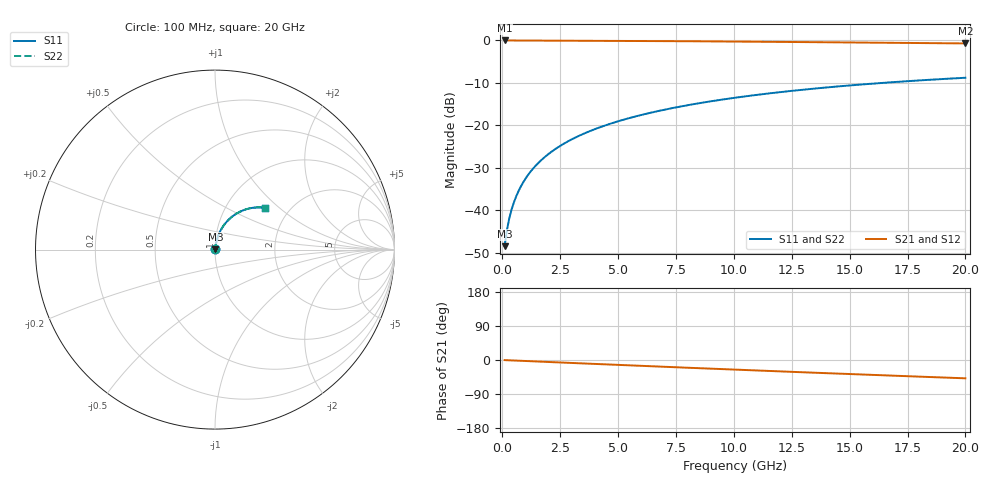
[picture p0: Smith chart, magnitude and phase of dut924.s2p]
! Touchstone file exported from HFSS 2026.1.0
!  File:  C:/ffzhzh/LocalFiles/Ansys_Project_Files/temp_train_TMRDL_924_1783158210_43440.aedt
!  Generated:  05:44:53 PM Jul  4, 2026
!  Design:  TMRDL
!  Project:  temp_train_TMRDL_924_1783158210_43440
! Variables:
!  h_bsmrdl = 2um
!  h_ox = 20um
!  h_rdl = 5um
!  h_sub = 80um
!  h_tmrdl = 4.28um
!  h_tsv = 80um
!  h_via = 3um
!  l_bsmrdl = 300um
!  l_sub = 1159.62um
!  l_tmrdl = 759.62um
!  m_sub = 200um
!  pitch = 47.27um
!  r_tsv = 6um
!  s_tmrdl = 10um
!  w_bsmrdl = 18um
!  w_sub = 500um
!  w_tmrdl = 25.11um
!  x_tsv_center1 = 772.175um
!  x_tsv_center2 = 1090.175um
!  x_tsv_center3 = 1874.905um
!  x_tsv_center4 = 2192.905um
!  x_tsv_center5 = 2977.635um
!  x_tsv_center6 = 3295.635um
# GHz S MA R 50.000000
! Terminal data exported
! Port[1] = TM_RDL1_1_T1
! Port[2] = TM_RDL1_1_T2
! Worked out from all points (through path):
!   200 points, 100 MHz to 20 GHz, reference 50 ohm
!   highest |S21| = -0.02 dB at 100 MHz (marker M1); lowest = -0.7 dB at 20 GHz (marker M2)
!   group delay of S21, straight-line fit = 6.71 ps
!   lowest |S11| = -48.5 dB at 100 MHz (marker M3), VSWR 1.01, Z = 50.3 + j0.26 ohm
!   |S11| at or under -10 dB: start of sweep to 16.47 GHz
!   |S22| runs from -48.5 to -8.8 dB; largest |S21 - S12| = 7.3e-15
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0.1  0.003766 43.3  0.9973 -0.3  0.9973 -0.3  0.003766 43.3
! Gamma 0 0 0 0
! Port Impedance 50 0 50 0
0.2  0.005827 59.1  0.997 -0.5  0.997 -0.5  0.005827 59.1
0.3  0.007978 66.1  0.9968 -0.8  0.9968 -0.8  0.007978 66.1
0.4  0.01014 70.2  0.9967 -1.1  0.9967 -1.1  0.01014 70.2
0.5  0.01232 72.9  0.9966 -1.3  0.9966 -1.3  0.01232 72.9
0.6  0.01452 74.8  0.9965 -1.6  0.9965 -1.6  0.01452 74.8
0.8  0.01897 77.2  0.9963 -2.1  0.9963 -2.1  0.01897 77.2
1.1  0.0257 78.9  0.996 -2.9  0.996 -2.9  0.0257 78.9
1.5  0.03472 79.7  0.9955 -3.9  0.9955 -3.9  0.03472 79.7
1.8  0.04148 79.7  0.9951 -4.7  0.9951 -4.7  0.04148 79.7
2.1  0.04822 79.5  0.9946 -5.5  0.9946 -5.5  0.04822 79.5
2.7  0.06161 78.6  0.9935 -7.0  0.9935 -7.0  0.06161 78.6
3.5  0.07921 77.1  0.9916 -9.1  0.9916 -9.1  0.07921 77.1
4.2  0.09436 75.6  0.9897 -10.9  0.9897 -10.9  0.09435 75.6
5  0.1114 73.8  0.9873 -12.9  0.9873 -12.9  0.1114 73.8
5.9  0.1301 71.7  0.9844 -15.2  0.9844 -15.2  0.1301 71.7
6.8  0.1484 69.6  0.9812 -17.4  0.9812 -17.4  0.1484 69.6
8.3  0.178 66.1  0.9754 -21.1  0.9754 -21.1  0.178 66.1
10.1  0.2119 61.9  0.9678 -25.5  0.9678 -25.5  0.2118 61.9
13.4  0.2691 54.4  0.9525 -33.4  0.9525 -33.4  0.2691 54.4
16.7  0.3195 47.0  0.9363 -41.0  0.9363 -41.0  0.3194 47.1
20  0.3626 39.9  0.9201 -48.3  0.9201 -48.3  0.3625 39.9
